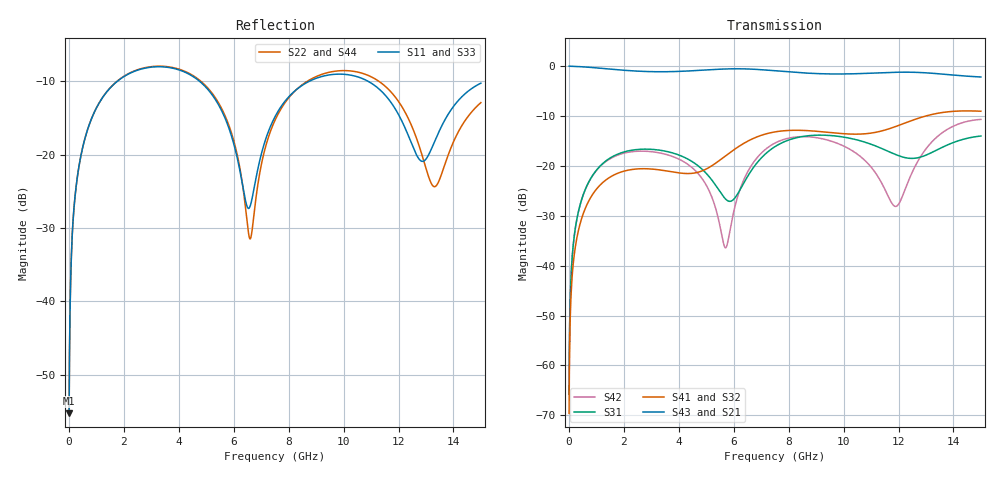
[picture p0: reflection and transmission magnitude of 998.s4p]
! Created with skrf 1.8.0 (http://scikit-rf.org).
# GHz S RI R 50.0
!freq ReS11 ImS11 ReS12 ImS12 ReS13 ImS13
! ReS14 ImS14
! ReS21 ImS21 ReS22 ImS22 ReS23 ImS23
! ReS24 ImS24
! ReS31 ImS31 ReS32 ImS32 ReS33 ImS33
! ReS34 ImS34
! ReS41 ImS41 ReS42 ImS42 ReS43 ImS43
! ReS44 ImS44
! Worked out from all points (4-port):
!   2499 points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, 5 MHz to 15 GHz, reference 50 ohm
!   strongest paths, dB at 5 MHz, 3.476 GHz, 7.19 GHz, 11.1 GHz, 15 GHz:
!     S43: 0.0, -1.1, -0.8, -1.4, -2.2
!     S21: 0.0, -1.1, -0.8, -1.4, -2.2
!     S41: -69.6, -20.9, -13.6, -13.3, -9.0
!     S32: -69.6, -21.0, -13.6, -13.4, -9.1
!     S31: -65.8, -17.0, -17.4, -15.9, -14.0
!     S42: -65.8, -17.6, -16.5, -20.9, -10.7
!   lowest |S11| = -55.2 dB at 5 MHz (marker M1), VSWR 1.00, Z = 50.1 + j0.105 ohm
!   |S11| at or under -10 dB: start of sweep to 1.759 GHz; 4.757 GHz to 8.748 GHz (3.991 GHz wide, 59.1 % of centre); 10.89 GHz to end of sweep
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0.005  0.00137 0.00105  0.9986 -0.00268  6.72e-05 0.000511  -6.54e-05 -0.000325
       0.9986 -0.00268  0.00137 0.00105  -6.54e-05 -0.000325  6.7e-05 0.000511
       6.72e-05 0.000511  -6.54e-05 -0.000325  0.00137 0.00105  0.9986 -0.00268
       -6.54e-05 -0.000325  6.7e-05 0.000511  0.9986 -0.00268  0.00137 0.00105
0.3626511  0.0222 0.08  0.9695 -0.1929  0.0102 0.0352  -0.0082 -0.0223
           0.9695 -0.1929  0.0223 0.08  -0.00819 -0.0223  0.0094 0.0354
           0.0102 0.0352  -0.00819 -0.0223  0.0222 0.08  0.9695 -0.1929
           -0.0082 -0.0223  0.0094 0.0354  0.9695 -0.1929  0.0223 0.08
1.619545  0.2293 0.1934  0.6325 -0.6776  0.1095 0.0609  -0.0784 -0.0189
          0.6325 -0.6776  0.2319 0.192  -0.0784 -0.019  0.1006 0.0707
          0.1095 0.0609  -0.0784 -0.019  0.2294 0.1933  0.6325 -0.6775
          -0.0784 -0.0189  0.1006 0.0707  0.6325 -0.6775  0.2319 0.192
5.696123  0.1028 -0.1418  -0.8246 -0.4427  -0.0382 -0.027  -0.055 0.113
          -0.8246 -0.4427  0.0917 -0.1572  -0.0559 0.1126  0.0142 0.00508
          -0.0382 -0.027  -0.0559 0.1126  0.1032 -0.1408  -0.8247 -0.4428
          -0.055 0.113  0.0142 0.00508  -0.8247 -0.4428  0.0906 -0.1569
6.55273  0.0431 -0.000301  -0.9337 -0.0495  -0.0216 0.0795  -0.00486 0.1794
         -0.9337 -0.0495  0.026 -0.0107  -0.00606 0.1793  0.0266 0.088
         -0.0216 0.0795  -0.00606 0.1793  0.0445 0.000493  -0.9337 -0.0496
         -0.00486 0.1794  0.0266 0.088  -0.9337 -0.0496  0.0245 -0.0102
10.5544  0.3278 -0.0789  0.1604 0.8245  0.0964 -0.1523  0.1859 -0.0937
         0.1604 0.8245  0.3492 -0.103  0.1861 -0.0899  0.1208 -0.0421
         0.0964 -0.1523  0.1861 -0.0899  0.3263 -0.0822  0.1597 0.8253
         0.1859 -0.0937  0.1208 -0.0421  0.1597 0.8253  0.3479 -0.0988
15  0.2917 0.0964  0.5815 -0.5171  0.1638 0.1135  -0.2876 -0.2047
    0.5815 -0.5171  0.2046 0.097  -0.2823 -0.2085  0.2887 0.0463
    0.1638 0.1135  -0.2823 -0.2085  0.2945 0.0959  0.5832 -0.5152
    -0.2876 -0.2047  0.2887 0.0463  0.5832 -0.5152  0.1995 0.0998
